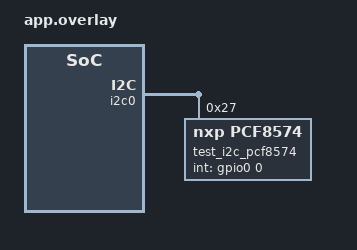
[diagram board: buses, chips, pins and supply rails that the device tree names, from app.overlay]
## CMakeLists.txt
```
# SPDX-License-Identifier: Apache-2.0

cmake_minimum_required(VERSION 3.20.0)

find_package(Zephyr REQUIRED HINTS $ENV{ZEPHYR_BASE})
project(zephyr-tests)

target_sources(app PRIVATE src/main.c)
```

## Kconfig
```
  source "${ZEPHYR_BASE}/Kconfig.zephyr"
```

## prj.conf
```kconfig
CONFIG_PRINTK=y

CONFIG_LOG=y

CONFIG_GPIO_LOG_LEVEL_ERR=y

CONFIG_GPIO=y

CONFIG_I2C=y
CONFIG_GPIO_PCF8574=y
```

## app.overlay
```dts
&i2c0 {
  test_i2c_pcf8574: pcf8574@27 {
    compatible = "nxp,pcf8574";
    reg = <0x27>;
    gpio-controller;
    #gpio-cells = <2>;
    ngpios = <8>;
    int-gpios = <&gpio0 0 0>;
  };
};
```

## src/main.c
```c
/*
 * Copyright (c) 2022 Mr Beam Lasers
 *
 * SPDX-License-Identifier: Apache-2.0
 */

#include <zephyr/logging/log.h>
// LOG_MODULE_REGISTER(sample, LOG_LEVEL_INF);

#include <zephyr/kernel.h>
#include <zephyr/device.h>

#include <zephyr/drivers/gpio.h>
#include <zephyr/drivers/i2c.h>

int main() {
  return 0;
}
```
